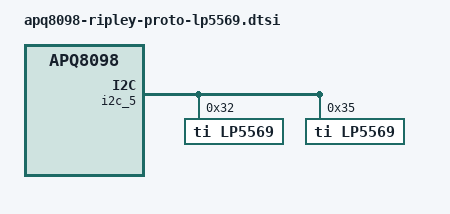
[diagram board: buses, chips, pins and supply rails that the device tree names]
/* Copyright (c) 2018, Facebook Inc. All rights reserved.
 *
 * This program is free software; you can redistribute it and/or modify
 * it under the terms of the GNU General Public License version 2 and
 * only version 2 as published by the Free Software Foundation.
 *
 * This program is distributed in the hope that it will be useful,
 * but WITHOUT ANY WARRANTY; without even the implied warranty of
 * MERCHANTABILITY or FITNESS FOR A PARTICULAR PURPOSE.  See the
 * GNU General Public License for more details.
 */

&i2c_5 {
	/delete-node/ lm96163@0x4c;

	lp5569@0x32 {
		compatible = "ti,lp5569";
		reg = <0x32>;
		clock-mode = /bits/ 8 <1>; /* Internal */

		R1 {
			chan-name = "R1";
			led-cur = /bits/ 8 <50>;
			max-cur = /bits/ 8 <160>;
		};

		G1 {
			chan-name = "G1";
			led-cur = /bits/ 8 <50>;
			max-cur = /bits/ 8 <160>;
		};

		B1 {
			chan-name = "B1";
			led-cur = /bits/ 8 <50>;
			max-cur = /bits/ 8 <160>;
		};

		R2 {
			chan-name = "R2";
			led-cur = /bits/ 8 <50>;
			max-cur = /bits/ 8 <160>;
		};

		G2 {
			chan-name = "G2";
			led-cur = /bits/ 8 <50>;
			max-cur = /bits/ 8 <160>;
		};

		B2 {
			chan-name = "B2";
			led-cur = /bits/ 8 <50>;
			max-cur = /bits/ 8 <160>;
		};

		R3 {
			chan-name = "R3";
			led-cur = /bits/ 8 <50>;
			max-cur = /bits/ 8 <160>;
		};

		G3 {
			chan-name = "G3";
			led-cur = /bits/ 8 <50>;
			max-cur = /bits/ 8 <160>;
		};

		B3 {
			chan-name = "B3";
			led-cur = /bits/ 8 <50>;
			max-cur = /bits/ 8 <160>;
		};
	};

	lp5569@0x35 {
		compatible = "ti,lp5569";
		reg = <0x35>;
		clock-mode = /bits/ 8 <1>; /* Internal */

		R4 {
			chan-name = "R4";
			led-cur = /bits/ 8 <50>;
			max-cur = /bits/ 8 <160>;
		};

		G4 {
			chan-name = "G4";
			led-cur = /bits/ 8 <50>;
			max-cur = /bits/ 8 <160>;
		};

		B4 {
			chan-name = "B4";
			led-cur = /bits/ 8 <50>;
			max-cur = /bits/ 8 <160>;
		};

		R5 {
			chan-name = "R5"; /* Not wired */
			led-cur = /bits/ 8 <50>;
			max-cur = /bits/ 8 <160>;
		};

		G5 {
			chan-name = "G5";
			led-cur = /bits/ 8 <50>;
			max-cur = /bits/ 8 <160>;
		};

		B5 {
			chan-name = "B5";
			led-cur = /bits/ 8 <50>;
			max-cur = /bits/ 8 <160>;
		};
	};
};

